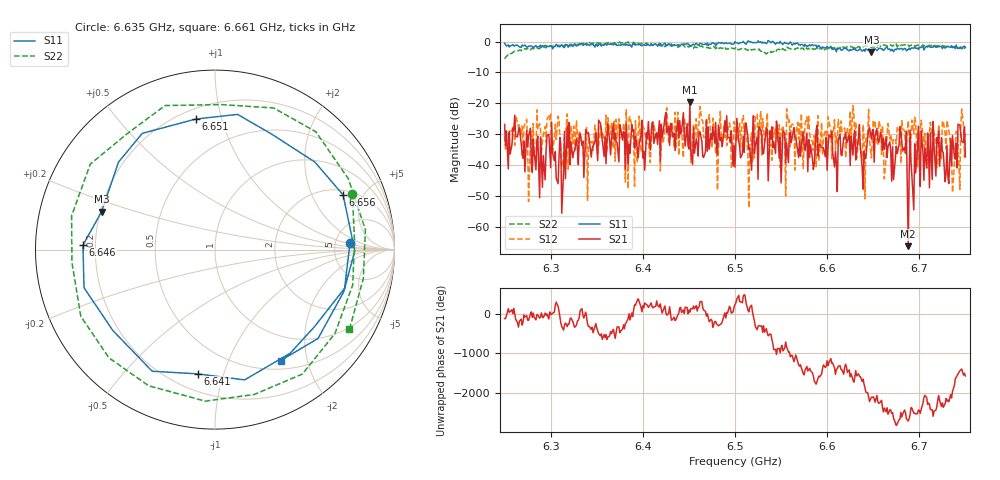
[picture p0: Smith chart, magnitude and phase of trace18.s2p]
# Hz S RI R 50
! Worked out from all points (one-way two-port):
!   401 points, 6.25 GHz to 6.75 GHz, reference 50 ohm
!   highest |S21| = -19.65 dB at 6.451 GHz (marker M1); lowest = -66.2 dB at 6.688 GHz (marker M2)
!   lowest |S11| = -3.5 dB at 6.648 GHz (marker M3), VSWR 4.99, Z = 10.3 + j7.83 ohm
!   |S11| at or under -10 dB: nowhere
!   |S22| runs from -5.6 to -0.1 dB; largest |S21 - S12| = 0.14
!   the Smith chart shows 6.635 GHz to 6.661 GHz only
!   S11 on the Smith chart (normalised r, x): 6.635 GHz: 6.90, +1.14; 6.641 GHz: 0.30, -0.82; 6.646 GHz: 0.15, +0.02; 6.651 GHz: 0.26, +0.83; 6.656 GHz: 2.27, +3.48; 6.661 GHz: 0.62, -1.58
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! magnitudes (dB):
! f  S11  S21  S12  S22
! 6.25 GHz  -0.5  -26.8  -30.6  -5.6
! 6.29 GHz  -1.9  -38.4  -35.9  -1.9
! 6.334 GHz  -0.6  -33.6  -33.4  -0.3
! 6.418 GHz  -0.5  -25.6  -26.8  -1.3
! 6.451 GHz  -1.2  -19.7  -25.3  -1.6
! 6.5 GHz  0.0  -40.7  -27.8  -2.2
! 6.516 GHz  -0.1  -34.4  -33.9  -2.2
! 6.584 GHz  -0.9  -37.8  -32.3  -2.2
! 6.626 GHz  -2.9  -30.7  -32.2  -1.7
! 6.635 GHz  -2.5  -26.9  -31.4  -1.7
! 6.641 GHz  -3.1  -37.9  -50.9  -1.6
! 6.646 GHz  -2.7  -27.9  -32.1  -1.6
! 6.648 GHz  -3.5  -31.5  -37.7  -1.9
! 6.651 GHz  -2.7  -39.1  -27.2  -1.8
! 6.656 GHz  -2.2  -32.7  -25.7  -1.3
! 6.661 GHz  -2.9  -31.3  -34.0  -1.2
! 6.668 GHz  -2.4  -32.5  -31.6  -1.4
! 6.68 GHz  -2.2  -29.4  -39.5  -1.2
! 6.688 GHz  -2.6  -66.2  -25.6  -1.1
! 6.728 GHz  -2.1  -45.3  -29.7  -1.5
! 6.736 GHz  -2.0  -30.4  -48.8  -1.7
! 6.75 GHz  -1.9  -37.3  -29.7  -2.2
